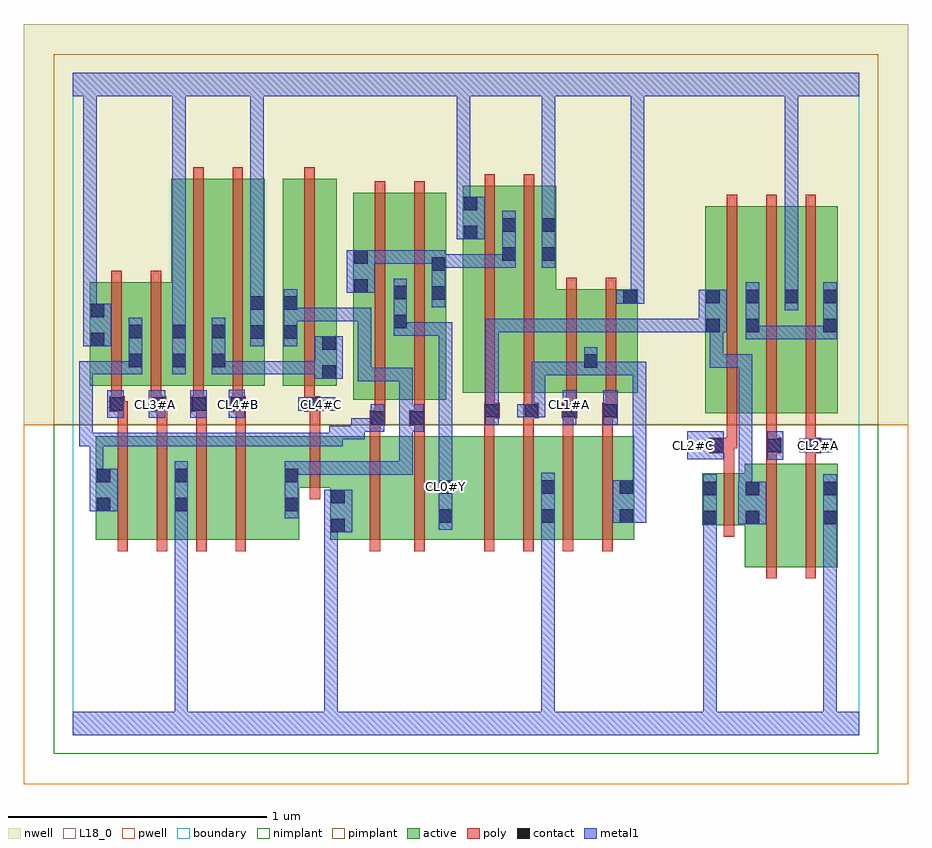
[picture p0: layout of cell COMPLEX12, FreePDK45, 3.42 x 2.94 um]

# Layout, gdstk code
import gdstk
lib = gdstk.Library(unit=1e-6, precision=1e-09)
def R(c, l, rs):  # rectangles x0, y0, x1, y1
    for r in rs: c.add(gdstk.rectangle(r[:2], r[2:], *l))
def A(c, l, x, y, w, h, nx, ny, dx, dy):  # array of equal rectangles
    R(c, l, [(x+i*dx, y+j*dy, x+i*dx+w, y+j*dy+h) for i in range(nx) for j in range(ny)])
active = (1, 0)
pwell = (2, 0)
nwell = (3, 0)
nimplant = (4, 0)
pimplant = (5, 0)
poly = (9, 0)
contact = (10, 0)
metal1 = (11, 0)
L18_0 = (18, 0)
boundary = (235, 0)

complex12 = lib.new_cell('COMPLEX12')
A(complex12, active, 2.444, 1.244, 0.06, 0.8, 3, 1, 0.152, 0)
R(complex12, active, [(2.596,0.65,2.776,1.05), (2.596,0.65,2.656,1.012), (2.776,0.65,2.956,1.05), (0.09,0.756,0.27,1.156), (0.09,0.756,0.15,1.156), (0.27,0.756,0.45,1.156), (0.39,0.756,0.45,1.156), (0.39,0.756,0.574,1.156), (0.574,0.756,0.876,1.156), (0.996,0.756,1.056,1.156), (0.996,0.756,1.244,1.156), (1.244,0.756,1.47,1.156), (1.41,0.756,1.47,0.99), (1.41,0.756,1.686,1.156), (1.686,0.756,1.866,1.156), (1.806,0.756,1.99,1.156), (1.806,0.756,1.866,0.99), (1.99,0.756,2.17,1.156), (2.11,0.756,2.17,1.156), (2.896,0.756,2.956,1.05), (2.432,0.812,2.656,1.012), (2.432,0.812,2.492,1.012), (0.816,0.862,0.876,1.156), (0.816,0.956,1.056,1.156), (2.444,1.244,2.656,2.044), (2.596,1.244,2.808,2.044), (2.748,1.244,2.956,2.044), (2.896,1.244,2.956,2.044), (1.084,1.296,1.296,2.096), (1.236,1.296,1.444,2.096), (1.236,1.296,1.296,2.044), (1.384,1.296,1.444,2.044), (1.508,1.324,1.568,2.124), (1.508,1.324,1.716,2.124), (1.656,1.324,1.868,2.124), (1.808,1.324,2.032,1.724), (1.972,1.324,2.184,1.724), (1.972,1.324,2.032,1.644), (2.124,1.324,2.184,1.724), (0.066,1.35,0.126,1.75), (0.066,1.35,0.274,1.75), (0.214,1.35,0.274,1.644), (0.214,1.35,0.442,1.75), (0.382,1.35,0.594,2.15), (0.534,1.35,0.742,2.15), (0.682,1.35,0.742,2.044), (0.812,1.35,1.02,2.15), (0.812,1.35,0.872,2.044), (0.96,1.35,1.02,2.044), (0.382,1.418,0.442,1.644), (0.534,1.418,0.594,2.044), (1.084,1.452,1.144,2.044), (1.656,1.686,1.716,2.044), (1.808,1.724,1.868,2.002)])
R(complex12, pwell, [(-0.188,-0.188,3.228,1.2)])
R(complex12, nwell, [(-0.188,1.2,3.228,2.748)])
R(complex12, nimplant, [(-0.072,-0.072,3.112,1.2)])
R(complex12, pimplant, [(-0.072,1.2,3.112,2.632)])
A(complex12, poly, 0.174, 0.712, 0.04, 0.488, 4, 1, 0.152, 0)
A(complex12, poly, 1.59, 0.712, 0.04, 0.488, 4, 1, 0.152, 0)
A(complex12, poly, 2.528, 1.11, 0.04, 0.13, 3, 1, 0.152, 0)
A(complex12, poly, 0.174, 1.16, 0.04, 0.13, 4, 1, 0.152, 0)
A(complex12, poly, 1.59, 1.16, 0.04, 0.104, 4, 1, 0.152, 0)
A(complex12, poly, 2.528, 1.2, 0.04, 0.888, 3, 1, 0.152, 0)
R(complex12, poly, [(2.68,0.606,2.72,1.094), (2.832,0.606,2.872,1.094), (1.148,0.712,1.188,1.2), (1.32,0.712,1.36,1.2), (2.516,0.768,2.556,1.056), (0.916,0.912,0.956,1.2), (2.516,1.016,2.556,1.13), (2.68,1.054,2.72,1.13), (2.832,1.054,2.872,1.13), (2.46,1.09,2.556,1.15), (2.68,1.09,2.72,1.13), (2.68,1.09,2.72,1.13), (2.68,1.09,2.74,1.15), (2.832,1.09,2.872,1.13), (2.832,1.09,2.872,1.13), (2.832,1.09,2.892,1.15), (2.516,1.11,2.556,1.15), (2.516,1.11,2.568,1.15), (0.916,1.16,0.956,1.29), (1.148,1.16,1.188,1.236), (1.32,1.16,1.36,1.236), (1.148,1.196,1.208,1.256), (1.3,1.196,1.36,1.256), (1.168,1.216,1.208,1.256), (1.168,1.216,1.208,1.256), (1.168,1.216,1.208,1.292), (1.32,1.216,1.36,1.256), (1.32,1.216,1.36,1.256), (1.32,1.216,1.36,1.292), (1.59,1.224,1.63,1.264), (1.59,1.224,1.63,1.264), (1.59,1.224,1.65,1.284), (1.742,1.224,1.782,1.264), (1.742,1.224,1.782,1.264), (1.742,1.224,1.802,1.284), (1.89,1.224,1.95,1.284), (2.046,1.224,2.106,1.284), (1.592,1.244,1.632,1.32), (1.744,1.244,1.784,1.32), (1.908,1.244,1.948,1.284), (1.908,1.244,1.948,1.284), (1.908,1.244,1.948,1.32), (2.06,1.244,2.1,1.284), (2.06,1.244,2.1,1.284), (2.06,1.244,2.1,1.32), (0.142,1.25,0.202,1.31), (0.162,1.25,0.202,1.29), (0.162,1.25,0.214,1.29), (0.302,1.25,0.362,1.31), (0.322,1.25,0.362,1.29), (0.322,1.25,0.366,1.29), (0.458,1.25,0.518,1.31), (0.478,1.25,0.518,1.29), (0.478,1.25,0.518,1.29), (0.61,1.25,0.67,1.31), (0.63,1.25,0.67,1.29), (0.63,1.25,0.67,1.29), (0.896,1.25,0.956,1.31), (0.916,1.25,0.956,1.29), (0.916,1.25,0.956,1.29), (1.168,1.252,1.208,2.14), (1.32,1.252,1.36,2.14), (0.15,1.27,0.19,1.346), (0.302,1.27,0.342,1.346), (0.466,1.27,0.506,1.346), (0.618,1.27,0.658,1.346), (0.896,1.27,0.936,1.346), (1.592,1.28,1.632,2.168), (1.744,1.28,1.784,2.168), (1.908,1.28,1.948,1.768), (2.06,1.28,2.1,1.768), (0.15,1.306,0.19,1.794), (0.302,1.306,0.342,1.794), (0.466,1.306,0.506,2.194), (0.618,1.306,0.658,2.194), (0.896,1.306,0.936,2.194)])
A(complex12, contact, 2.448, 1.67, 0.052, 0.052, 3, 1, 0.152, 0)
R(complex12, contact, [(1,0.784,1.052,0.836), (2.436,0.816,2.488,0.868), (2.6,0.816,2.652,0.868), (2.9,0.816,2.952,0.868), (1.414,0.822,1.466,0.874), (1.81,0.822,1.862,0.874), (2.114,0.822,2.166,0.874), (0.094,0.866,0.146,0.918), (0.394,0.866,0.446,0.918), (0.82,0.866,0.872,0.918), (1,0.896,1.052,0.948), (2.436,0.928,2.488,0.98), (2.6,0.928,2.652,0.98), (2.9,0.928,2.952,0.98), (1.414,0.934,1.466,0.986), (1.81,0.934,1.862,0.986), (2.114,0.934,2.166,0.986), (0.094,0.978,0.146,1.03), (0.394,0.978,0.446,1.03), (0.82,0.978,0.872,1.03), (2.464,1.094,2.516,1.146), (2.684,1.094,2.736,1.146), (2.836,1.094,2.888,1.146), (1.152,1.2,1.204,1.252), (1.304,1.2,1.356,1.252), (1.594,1.228,1.646,1.28), (1.746,1.228,1.798,1.28), (1.894,1.228,1.946,1.28), (2.05,1.228,2.102,1.28), (0.146,1.254,0.198,1.306), (0.306,1.254,0.358,1.306), (0.462,1.254,0.514,1.306), (0.614,1.254,0.666,1.306), (0.9,1.254,0.952,1.306), (0.964,1.378,1.016,1.43), (1.976,1.42,2.028,1.472), (0.218,1.422,0.27,1.474), (0.386,1.422,0.438,1.474), (0.538,1.422,0.59,1.474), (0.964,1.49,1.016,1.542), (0.07,1.504,0.122,1.556), (0.686,1.532,0.738,1.584), (0.816,1.532,0.868,1.584), (0.218,1.534,0.27,1.586), (0.386,1.534,0.438,1.586), (0.538,1.534,0.59,1.586), (2.448,1.558,2.5,1.61), (2.6,1.558,2.652,1.61), (2.9,1.558,2.952,1.61), (1.24,1.572,1.292,1.624), (0.07,1.616,0.122,1.668), (0.686,1.644,0.738,1.696), (0.816,1.644,0.868,1.696), (2.128,1.668,2.18,1.72), (2.9,1.67,2.952,1.722), (1.388,1.682,1.44,1.734), (1.24,1.684,1.292,1.736), (1.088,1.71,1.14,1.762), (1.388,1.794,1.44,1.846), (1.088,1.822,1.14,1.874), (1.66,1.834,1.712,1.886), (1.812,1.834,1.864,1.886), (1.512,1.916,1.564,1.968), (1.66,1.946,1.712,1.998), (1.812,1.946,1.864,1.998), (1.512,2.028,1.564,2.08)])
A(complex12, metal1, 0.134, 1.226, 0.064, 0.108, 3, 1, 0.16, 0)
R(complex12, metal1, [(0,0,3.04,0.092), (0.394,0.04,0.446,0.092), (0.394,0.04,0.446,0.092), (0.394,0.04,0.446,0.092), (0.394,0.04,0.446,0.092), (0.394,0.04,0.446,0.89), (0.972,0.04,1.024,0.092), (0.972,0.04,1.024,0.092), (0.972,0.04,1.024,0.836), (1.81,0.04,1.862,0.092), (1.81,0.04,1.862,0.092), (1.81,0.04,1.862,0.092), (1.81,0.04,1.862,0.092), (1.81,0.04,1.862,0.846), (2.436,0.04,2.488,0.092), (2.436,0.04,2.488,0.092), (2.436,0.04,2.488,0.092), (2.436,0.04,2.488,0.092), (2.436,0.04,2.488,0.578), (2.9,0.04,2.952,0.092), (2.9,0.04,2.952,0.092), (2.9,0.04,2.952,0.092), (2.9,0.04,2.952,0.092), (2.9,0.04,2.952,0.092), (2.9,0.04,2.952,0.092), (2.9,0.04,2.952,0.84), (2.436,0.526,2.488,0.578), (2.436,0.526,2.488,0.578), (2.436,0.526,2.488,0.578), (2.436,0.526,2.488,0.578), (2.436,0.526,2.488,0.578), (2.436,0.526,2.488,0.578), (2.436,0.526,2.488,0.578), (2.436,0.526,2.488,0.578), (2.436,0.526,2.488,0.578), (2.436,0.526,2.488,0.578), (2.436,0.526,2.488,0.578), (2.436,0.526,2.488,0.84), (0.972,0.784,1.024,0.836), (0.972,0.784,1.024,0.836), (0.972,0.784,1.024,0.836), (0.972,0.784,1.024,0.836), (0.972,0.784,1.024,0.836), (0.972,0.784,1.024,0.836), (0.972,0.784,1.024,0.836), (0.972,0.784,1.024,0.836), (0.972,0.784,1.024,0.836), (0.972,0.784,1.024,0.836), (0.972,0.784,1.08,0.948), (2.436,0.788,2.488,1.008), (2.9,0.788,2.952,0.84), (2.9,0.788,2.952,0.84), (2.9,0.788,2.952,0.84), (2.9,0.788,2.952,0.84), (2.9,0.788,2.952,0.84), (2.9,0.788,2.952,0.84), (2.9,0.788,2.952,1.008), (1.414,0.794,1.466,1.014), (1.81,0.794,1.862,0.846), (1.81,0.794,1.862,0.846), (1.81,0.794,1.862,0.846), (1.81,0.794,1.862,0.846), (1.81,0.794,1.862,0.846), (1.81,0.794,1.862,0.846), (1.81,0.794,1.862,0.846), (1.81,0.794,1.862,0.846), (1.81,0.794,1.862,1.014), (2.572,0.816,2.68,0.98), (2.086,0.822,2.216,0.986), (0.394,0.838,0.446,0.89), (0.394,0.838,0.446,0.89), (0.394,0.838,0.446,0.89), (0.394,0.838,0.446,0.89), (0.394,0.838,0.446,0.89), (0.394,0.838,0.446,0.89), (0.394,0.838,0.446,0.89), (0.394,0.838,0.446,0.89), (0.394,0.838,0.446,1.058), (0.82,0.838,0.872,1.058), (0.066,0.866,0.174,1.03), (2.574,0.928,2.626,1.472), (2.164,0.934,2.216,1.444), (1.414,0.962,1.466,1.014), (1.414,0.962,1.466,1.014), (1.414,0.962,1.466,1.014), (1.414,0.962,1.466,1.014), (1.414,0.962,1.466,1.596), (0.066,0.978,0.118,1.168), (0.82,1.006,0.872,1.058), (0.82,1.006,0.872,1.058), (0.82,1.006,0.982,1.058), (0.93,1.006,0.982,1.058), (0.93,1.006,1.18,1.058), (1.128,1.006,1.18,1.058), (1.128,1.006,1.18,1.058), (1.128,1.006,1.18,1.058), (1.128,1.006,1.314,1.058), (1.262,1.006,1.314,1.058), (1.262,1.006,1.314,1.224), (2.684,1.064,2.746,1.174), (2.374,1.066,2.516,1.174), (2.808,1.094,2.934,1.146), (0.026,1.116,0.078,1.446), (0.026,1.116,0.118,1.168), (0.066,1.116,0.228,1.168), (0.176,1.116,0.228,1.168), (0.176,1.116,0.228,1.168), (0.176,1.116,0.228,1.168), (0.176,1.116,0.338,1.168), (0.286,1.116,0.338,1.168), (0.286,1.116,0.338,1.168), (0.286,1.116,0.338,1.168), (0.286,1.116,0.546,1.168), (0.494,1.116,0.546,1.168), (0.494,1.116,0.546,1.168), (0.494,1.116,0.546,1.168), (0.494,1.116,0.758,1.168), (0.706,1.116,0.758,1.168), (0.706,1.116,0.758,1.168), (0.706,1.116,0.758,1.168), (0.706,1.116,0.872,1.168), (0.82,1.116,0.872,1.168), (0.82,1.116,0.872,1.168), (0.82,1.116,0.872,1.168), (0.82,1.116,1.044,1.168), (0.992,1.116,1.044,1.196), (0.992,1.144,1.128,1.196), (1.076,1.144,1.128,1.224), (1.076,1.172,1.204,1.224), (1.152,1.172,1.204,1.28), (1.262,1.172,1.314,1.224), (1.262,1.172,1.356,1.224), (1.262,1.172,1.314,1.42), (1.304,1.172,1.356,1.28), (1.594,1.2,1.646,1.308), (1.894,1.2,1.946,1.334), (2.05,1.2,2.106,1.334), (0.604,1.226,0.666,1.336), (1.718,1.228,1.826,1.28), (1.774,1.228,1.826,1.28), (1.774,1.228,1.826,1.28), (1.774,1.228,1.826,1.444), (0.872,1.254,1.014,1.306), (1.594,1.256,1.646,1.308), (1.594,1.256,1.646,1.308), (1.594,1.256,1.646,1.308), (1.594,1.256,1.646,1.308), (1.594,1.256,1.646,1.61), (1.102,1.368,1.154,1.42), (1.102,1.368,1.154,1.42), (1.102,1.368,1.154,1.42), (1.102,1.368,1.154,1.42), (1.102,1.368,1.154,1.42), (1.102,1.368,1.314,1.42), (1.102,1.368,1.154,1.652), (1.262,1.368,1.314,1.42), (0.936,1.378,1.044,1.542), (1.774,1.392,1.826,1.444), (1.774,1.392,1.936,1.444), (1.884,1.392,1.936,1.444), (1.884,1.392,2.028,1.444), (1.976,1.392,2.028,1.5), (1.976,1.392,2.216,1.444), (2.164,1.392,2.216,1.444), (2.164,1.392,2.216,1.444), (2.164,1.392,2.216,1.444), (2.164,1.392,2.216,1.444), (2.164,1.392,2.216,1.444), (2.164,1.392,2.216,1.444), (2.164,1.392,2.216,1.444), (0.026,1.394,0.078,1.446), (0.026,1.394,0.078,1.446), (0.026,1.394,0.078,1.446), (0.026,1.394,0.078,1.446), (0.026,1.394,0.078,1.446), (0.026,1.394,0.27,1.446), (0.218,1.394,0.27,1.614), (0.386,1.394,0.438,1.614), (0.538,1.394,0.59,1.614), (0.538,1.394,0.758,1.446), (0.706,1.394,0.758,1.446), (0.706,1.394,0.758,1.446), (0.706,1.394,0.758,1.446), (0.706,1.394,0.872,1.446), (0.82,1.394,0.872,1.446), (0.82,1.394,0.872,1.446), (0.82,1.394,0.872,1.446), (0.82,1.394,0.988,1.446), (2.462,1.42,2.514,1.472), (2.462,1.42,2.514,1.472), (2.462,1.42,2.514,1.472), (2.462,1.42,2.514,1.472), (2.462,1.42,2.514,1.472), (2.462,1.42,2.626,1.472), (2.462,1.42,2.514,1.61), (2.574,1.42,2.626,1.472), (2.574,1.42,2.626,1.472), (2.574,1.42,2.626,1.472), (0.042,1.504,0.15,1.668), (0.686,1.504,0.738,1.724), (0.816,1.504,0.868,1.724), (2.6,1.53,2.652,1.75), (2.6,1.53,2.69,1.582), (2.638,1.53,2.69,1.582), (2.638,1.53,2.842,1.582), (2.79,1.53,2.842,1.582), (2.79,1.53,2.952,1.582), (2.9,1.53,2.952,1.582), (2.9,1.53,2.952,1.582), (2.9,1.53,2.952,1.75), (1.24,1.544,1.292,1.764), (1.24,1.544,1.314,1.596), (1.262,1.544,1.314,1.596), (1.262,1.544,1.466,1.596), (1.414,1.544,1.466,1.596), (1.414,1.544,1.466,1.596), (1.414,1.544,1.466,1.596), (1.414,1.544,1.466,1.596), (1.414,1.544,1.466,1.596), (1.414,1.544,1.466,1.596), (1.414,1.544,1.466,1.596), (1.594,1.558,1.646,1.61), (1.594,1.558,1.756,1.61), (1.704,1.558,1.756,1.61), (1.704,1.558,1.756,1.61), (1.704,1.558,1.756,1.61), (1.704,1.558,1.948,1.61), (1.896,1.558,1.948,1.61), (1.896,1.558,1.96,1.61), (1.908,1.558,1.96,1.61), (1.908,1.558,2.058,1.61), (2.006,1.558,2.058,1.61), (2.006,1.558,2.138,1.61), (2.086,1.558,2.138,1.61), (2.086,1.558,2.472,1.61), (2.42,1.558,2.528,1.722), (0.386,1.562,0.438,1.614), (0.386,1.562,0.438,1.614), (0.386,1.562,0.438,2.52), (0.816,1.6,0.868,1.652), (0.816,1.6,0.868,1.652), (0.816,1.6,0.982,1.652), (0.93,1.6,0.982,1.652), (0.93,1.6,1.154,1.652), (1.102,1.6,1.154,1.652), (0.042,1.616,0.094,1.668), (0.042,1.616,0.094,1.668), (0.042,1.616,0.094,1.668), (0.042,1.616,0.094,1.668), (0.042,1.616,0.094,1.668), (0.042,1.616,0.094,1.668), (0.042,1.616,0.094,2.52), (2.752,1.642,2.804,1.75), (1.388,1.654,1.44,1.874), (2.1,1.668,2.208,1.72), (2.156,1.668,2.208,1.72), (2.156,1.668,2.208,1.72), (2.156,1.668,2.208,1.72), (2.156,1.668,2.208,1.72), (2.156,1.668,2.208,1.72), (2.156,1.668,2.208,1.72), (2.156,1.668,2.208,1.72), (2.156,1.668,2.208,1.72), (2.156,1.668,2.208,1.72), (2.156,1.668,2.208,1.72), (2.156,1.668,2.208,1.72), (2.156,1.668,2.208,1.72), (2.156,1.668,2.208,1.72), (2.156,1.668,2.208,1.72), (2.156,1.668,2.208,2.52), (0.686,1.672,0.738,1.724), (0.686,1.672,0.738,1.724), (0.686,1.672,0.738,1.724), (0.686,1.672,0.738,1.724), (0.686,1.672,0.738,2.52), (2.752,1.698,2.804,2.126), (1.06,1.71,1.168,1.874), (1.388,1.806,1.44,1.858), (1.388,1.806,1.44,1.858), (1.388,1.806,1.646,1.858), (1.594,1.806,1.646,1.858), (1.594,1.806,1.712,1.858), (1.66,1.806,1.712,2.026), (1.812,1.806,1.864,2.026), (1.116,1.822,1.168,1.874), (1.116,1.822,1.168,1.874), (1.116,1.822,1.314,1.874), (1.262,1.822,1.314,1.874), (1.262,1.822,1.314,1.874), (1.262,1.822,1.314,1.874), (1.262,1.822,1.44,1.874), (1.484,1.916,1.592,2.08), (1.812,1.974,1.864,2.026), (1.812,1.974,1.864,2.026), (1.812,1.974,1.864,2.026), (1.812,1.974,1.864,2.026), (1.812,1.974,1.864,2.026), (1.812,1.974,1.864,2.026), (1.812,1.974,1.864,2.52), (1.484,2.028,1.536,2.08), (1.484,2.028,1.536,2.08), (1.484,2.028,1.536,2.08), (1.484,2.028,1.536,2.08), (1.484,2.028,1.536,2.08), (1.484,2.028,1.536,2.08), (1.484,2.028,1.536,2.52), (2.752,2.074,2.804,2.126), (2.752,2.074,2.804,2.126), (2.752,2.074,2.804,2.126), (2.752,2.074,2.804,2.126), (2.752,2.074,2.804,2.126), (2.752,2.074,2.804,2.52), (0,2.468,3.04,2.56), (0.042,2.468,0.094,2.52), (0.042,2.468,0.094,2.52), (0.042,2.468,0.094,2.52), (0.042,2.468,0.094,2.52), (0.042,2.468,0.094,2.52), (0.042,2.468,0.094,2.52), (0.042,2.468,0.094,2.52), (0.042,2.468,0.094,2.52), (0.042,2.468,0.094,2.52), (0.042,2.468,0.094,2.52), (0.386,2.468,0.438,2.52), (0.386,2.468,0.438,2.52), (0.386,2.468,0.438,2.52), (0.386,2.468,0.438,2.52), (0.386,2.468,0.438,2.52), (0.386,2.468,0.438,2.52), (0.686,2.468,0.738,2.52), (0.686,2.468,0.738,2.52), (0.686,2.468,0.738,2.52), (0.686,2.468,0.738,2.52), (1.484,2.468,1.536,2.52), (1.484,2.468,1.536,2.52), (1.812,2.468,1.864,2.52), (1.812,2.468,1.864,2.52), (2.156,2.468,2.208,2.52), (2.156,2.468,2.208,2.52), (2.752,2.468,2.804,2.52), (2.752,2.468,2.804,2.52)])
A(complex12, L18_0, 0.134, 1.226, 0.064, 0.108, 3, 1, 0.16, 0)
A(complex12, L18_0, 0.134, 1.254, 0.052, 0.052, 4, 1, 0.16, 0)
R(complex12, L18_0, [(0,0,3.04,0.092), (0.394,0.04,0.446,0.092), (0.394,0.04,0.446,0.092), (0.394,0.04,0.446,0.092), (0.394,0.04,0.446,0.092), (0.394,0.04,0.446,0.89), (0.972,0.04,1.024,0.092), (0.972,0.04,1.024,0.092), (0.972,0.04,1.024,0.836), (1.81,0.04,1.862,0.092), (1.81,0.04,1.862,0.092), (1.81,0.04,1.862,0.092), (1.81,0.04,1.862,0.092), (1.81,0.04,1.862,0.846), (2.436,0.04,2.488,0.092), (2.436,0.04,2.488,0.092), (2.436,0.04,2.488,0.092), (2.436,0.04,2.488,0.092), (2.436,0.04,2.488,0.578), (2.9,0.04,2.952,0.092), (2.9,0.04,2.952,0.092), (2.9,0.04,2.952,0.092), (2.9,0.04,2.952,0.092), (2.9,0.04,2.952,0.092), (2.9,0.04,2.952,0.092), (2.9,0.04,2.952,0.84), (2.436,0.526,2.488,0.578), (2.436,0.526,2.488,0.578), (2.436,0.526,2.488,0.578), (2.436,0.526,2.488,0.578), (2.436,0.526,2.488,0.578), (2.436,0.526,2.488,0.578), (2.436,0.526,2.488,0.578), (2.436,0.526,2.488,0.578), (2.436,0.526,2.488,0.578), (2.436,0.526,2.488,0.578), (2.436,0.526,2.488,0.578), (2.436,0.526,2.488,0.84), (0.972,0.784,1.08,0.948), (0.972,0.784,1.024,0.836), (0.972,0.784,1.024,0.836), (0.972,0.784,1.024,0.836), (0.972,0.784,1.024,0.836), (0.972,0.784,1.024,0.836), (0.972,0.784,1.024,0.836), (0.972,0.784,1.024,0.836), (0.972,0.784,1.024,0.836), (0.972,0.784,1.024,0.836), (0.972,0.784,1.024,0.836), (2.436,0.788,2.488,1.008), (2.9,0.788,2.952,0.84), (2.9,0.788,2.952,0.84), (2.9,0.788,2.952,0.84), (2.9,0.788,2.952,0.84), (2.9,0.788,2.952,0.84), (2.9,0.788,2.952,0.84), (2.9,0.788,2.952,1.008), (1.414,0.794,1.466,1.014), (1.81,0.794,1.862,0.846), (1.81,0.794,1.862,0.846), (1.81,0.794,1.862,0.846), (1.81,0.794,1.862,0.846), (1.81,0.794,1.862,0.846), (1.81,0.794,1.862,0.846), (1.81,0.794,1.862,0.846), (1.81,0.794,1.862,0.846), (1.81,0.794,1.862,1.014), (0.394,0.838,0.446,0.89), (0.394,0.838,0.446,0.89), (0.394,0.838,0.446,0.89), (0.394,0.838,0.446,0.89), (0.394,0.838,0.446,0.89), (0.394,0.838,0.446,0.89), (0.394,0.838,0.446,0.89), (0.394,0.838,0.446,0.89), (0.394,0.838,0.446,1.058), (1.414,0.934,1.466,0.986), (1.414,0.962,1.466,1.014), (1.414,0.962,1.466,1.014), (1.414,0.962,1.466,1.014), (1.414,0.962,1.466,1.014), (1.414,0.962,1.466,1.596), (2.684,1.064,2.746,1.174), (2.374,1.066,2.516,1.174), (2.374,1.094,2.426,1.146), (2.694,1.094,2.746,1.146), (2.808,1.094,2.934,1.146), (2.854,1.094,2.906,1.146), (1.894,1.2,1.946,1.334), (2.05,1.2,2.106,1.334), (0.604,1.226,0.666,1.336), (0.872,1.254,1.014,1.306), (0.934,1.254,0.986,1.306), (1.894,1.254,1.946,1.306), (2.054,1.254,2.106,1.306), (0.386,1.394,0.438,1.614), (0.042,1.504,0.15,1.668), (0.686,1.504,0.738,1.724), (1.24,1.544,1.292,1.764), (1.24,1.544,1.314,1.596), (1.262,1.544,1.314,1.596), (1.262,1.544,1.466,1.596), (1.414,1.544,1.466,1.596), (1.414,1.544,1.466,1.596), (1.414,1.544,1.466,1.596), (1.414,1.544,1.466,1.596), (1.414,1.544,1.466,1.596), (1.414,1.544,1.466,1.596), (1.414,1.544,1.466,1.596), (0.386,1.562,0.438,1.614), (0.386,1.562,0.438,1.614), (0.386,1.562,0.438,2.52), (0.042,1.616,0.094,1.668), (0.042,1.616,0.094,1.668), (0.042,1.616,0.094,1.668), (0.042,1.616,0.094,1.668), (0.042,1.616,0.094,1.668), (0.042,1.616,0.094,1.668), (0.042,1.616,0.094,2.52), (2.752,1.642,2.804,1.75), (2.1,1.668,2.208,1.72), (2.156,1.668,2.208,1.72), (2.156,1.668,2.208,1.72), (2.156,1.668,2.208,1.72), (2.156,1.668,2.208,1.72), (2.156,1.668,2.208,1.72), (2.156,1.668,2.208,1.72), (2.156,1.668,2.208,1.72), (2.156,1.668,2.208,1.72), (2.156,1.668,2.208,1.72), (2.156,1.668,2.208,1.72), (2.156,1.668,2.208,1.72), (2.156,1.668,2.208,1.72), (2.156,1.668,2.208,1.72), (2.156,1.668,2.208,1.72), (2.156,1.668,2.208,2.52), (0.686,1.672,0.738,1.724), (0.686,1.672,0.738,1.724), (0.686,1.672,0.738,1.724), (0.686,1.672,0.738,1.724), (0.686,1.672,0.738,2.52), (2.752,1.698,2.804,2.126), (1.812,1.806,1.864,2.026), (1.484,1.916,1.592,2.08), (1.812,1.974,1.864,2.026), (1.812,1.974,1.864,2.026), (1.812,1.974,1.864,2.026), (1.812,1.974,1.864,2.026), (1.812,1.974,1.864,2.026), (1.812,1.974,1.864,2.026), (1.812,1.974,1.864,2.52), (1.484,2.028,1.536,2.08), (1.484,2.028,1.536,2.08), (1.484,2.028,1.536,2.08), (1.484,2.028,1.536,2.08), (1.484,2.028,1.536,2.08), (1.484,2.028,1.536,2.08), (1.484,2.028,1.536,2.52), (2.752,2.074,2.804,2.126), (2.752,2.074,2.804,2.126), (2.752,2.074,2.804,2.126), (2.752,2.074,2.804,2.126), (2.752,2.074,2.804,2.126), (2.752,2.074,2.804,2.52), (0,2.468,3.04,2.56), (0.042,2.468,0.094,2.52), (0.042,2.468,0.094,2.52), (0.042,2.468,0.094,2.52), (0.042,2.468,0.094,2.52), (0.042,2.468,0.094,2.52), (0.042,2.468,0.094,2.52), (0.042,2.468,0.094,2.52), (0.042,2.468,0.094,2.52), (0.042,2.468,0.094,2.52), (0.042,2.468,0.094,2.52), (0.386,2.468,0.438,2.52), (0.386,2.468,0.438,2.52), (0.386,2.468,0.438,2.52), (0.386,2.468,0.438,2.52), (0.386,2.468,0.438,2.52), (0.386,2.468,0.438,2.52), (0.686,2.468,0.738,2.52), (0.686,2.468,0.738,2.52), (0.686,2.468,0.738,2.52), (0.686,2.468,0.738,2.52), (1.484,2.468,1.536,2.52), (1.484,2.468,1.536,2.52), (1.812,2.468,1.864,2.52), (1.812,2.468,1.864,2.52), (2.156,2.468,2.208,2.52), (2.156,2.468,2.208,2.52), (2.752,2.468,2.804,2.52), (2.752,2.468,2.804,2.52)])
R(complex12, boundary, [(0,0,3.04,2.56)])
complex12.add(gdstk.Label('CL0#Y', (1.44,0.96), layer=11, texttype=0))
complex12.add(gdstk.Label('CL1#A', (1.92,1.28), layer=11, texttype=0))
complex12.add(gdstk.Label('CL1#B', (2.08,1.28), layer=11, texttype=0))
complex12.add(gdstk.Label('CL2#A', (2.88,1.12), layer=11, texttype=0))
complex12.add(gdstk.Label('CL2#B', (2.72,1.12), layer=11, texttype=0))
complex12.add(gdstk.Label('CL2#C', (2.4,1.12), layer=11, texttype=0))
complex12.add(gdstk.Label('CL3#A', (0.32,1.28), layer=11, texttype=0))
complex12.add(gdstk.Label('CL3#B', (0.16,1.28), layer=11, texttype=0))
complex12.add(gdstk.Label('CL4#A', (0.48,1.28), layer=11, texttype=0))
complex12.add(gdstk.Label('CL4#B', (0.64,1.28), layer=11, texttype=0))
complex12.add(gdstk.Label('CL4#C', (0.96,1.28), layer=11, texttype=0))

lib.write_gds('COMPLEX12.gds')
